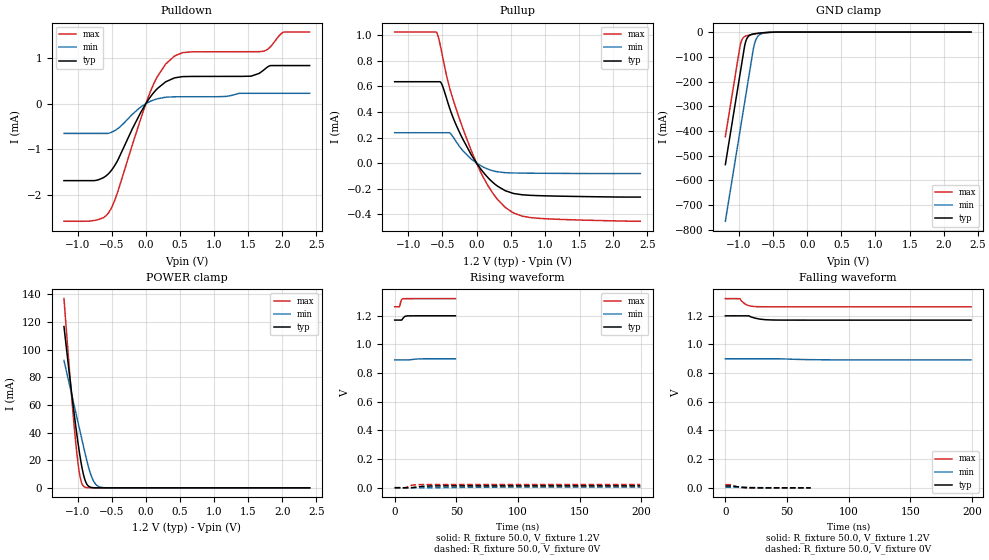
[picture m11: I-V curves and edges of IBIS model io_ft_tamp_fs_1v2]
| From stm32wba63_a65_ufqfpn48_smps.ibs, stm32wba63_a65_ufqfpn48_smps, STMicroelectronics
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[Model]   io_ft_tamp_fs_1v2
Model_type I/O
Polarity   Non-Inverting
Enable   Active-Low
| CAP_THRESHOLD on pad IOFT is "UDTCAPC" :
| Rising=30.0% of vddios   Falling=70.0% of vddios
| C_comp min and max val. don't necessarily correlate with the min and max pvt
| but are the smallest and greatest pad capacitance found.
| var   typ   min   max
C_comp   2.32869pF  2.27598pF  2.39710pF
|C_comp_pullup   1.36502pF  1.26597pF  1.45243pF
|C_comp_pulldown   963.66384fF  1.01002pF  944.67420fF
Vinl = 450.0mV
Vinh = 660.0mV
Vmeas = 600.0mV   | Reference voltage for timing measurements
Cref  = 50.0pF   | Timing specification test load capacitance value
Rref  = 1.0MOhm   | Timing specification test load resistance value
Vref  = 660.0mV   | Timing specification test load voltage
[Model Spec]
| TIME_THRESHOLD on pin ZIV11 is "CMOS" :
| Rising=50.0% of vdd   Falling=50.0% of vdd
Vinl 441.50000mV 335.50000mV 487.50000mV
Vinh 755.50000mV 552.50000mV 839.50000mV
| variable   typ   min   max
[Temperature Range] 25.0 140.0 -40.0
| variable   typ   min   max
[Voltage Range] 1.2V 900.0mV 1.32V
| variable   typ   min   max
[POWER Clamp Reference] 1.2V 900.0mV 1.32V
| variable   typ   min   max
[GND Clamp Reference] 0V 0V 0V
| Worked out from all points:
|   slope of the pulldown table from 0 to 0.18 V, typ, clamps not added: 522 ohm
|   slope of the pullup table from 0 to 0.18 V, typ, clamps not added: 1.49 kohm
|   GND clamp passes 1 mA (typ) near -0.54 V on its own axis
|   POWER clamp passes 1 mA (typ) near -0.83 V on its own axis
[POWER Clamp]
-1.2V     116.7mA    92.13mA    136.9mA
-1.09V    69.42mA    68.21mA    67.14mA
-1.02V    41.75mA    52.99mA    28.91mA
-990mV    30.98mA    46.47mA    16.09mA
-970mV    24.36mA    42.12mA    9.575mA
-940mV    15.59mA    35.6mA     3.485mA
-910mV    8.693mA    29.07mA    1.01mA
-860mV    2.259mA    18.59mA    104.6uA
-780mV    143.1uA    6.246mA    2.554uA
-720mV    16.22uA    1.846mA    157.1nA
-650mV    1.266uA    330.3uA    6.104nA
2.4V      0A         0A         0A
[GND Clamp]
-1.2V     -535.9mA   -765.1mA   -422.7mA
-990mV    -178.9mA   -408.1mA   -65.72mA
-970mV    -144.9mA   -374.1mA   -40.58mA
-920mV    -59.91mA   -289.1mA   -18.78mA
-900mV    -37.04mA   -255.1mA   -15.98mA
-880mV    -24.11mA   -221.1mA   -14.15mA
-780mV    -7.189mA   -55.54mA   -8.417mA
-750mV    -5.884mA   -29.71mA   -7.031mA
-700mV    -4.228mA   -11.41mA   -4.967mA
-610mV    -2.056mA   -3.105mA   -2.146mA
-390mV    -47.28uA   -188.8uA   -17.26uA
2.4V      740.6pA    197.9nA    245.1pA
| variable   typ   min   max
[Pullup Reference] 1.2V 900.0mV 1.32V
| variable   typ   min   max
[Pulldown Reference] 0V 0V 0V
[Pullup]
-1.2V     636.9uA    237.8uA    1.025mA
-580mV    636.9uA    237.8uA    1.017mA
-510mV    618.2uA    237.8uA    865.7uA
-440mV    507.1uA    237.8uA    686.1uA
-380mV    407.6uA    229.9uA    561.8uA
-250mV    241.3uA    130.7uA    346.6uA
-80mV     68.07uA    32.58uA    101.5uA
170mV     -115.1uA   -47.4uA    -178.3uA
420mV     -215.5uA   -74.74uA   -346.1uA
540mV     -237.3uA   -77.13uA   -389.8uA
790mV     -251.9uA   -78.78uA   -426uA
2.4V      -265.6uA   -81.56uA   -454.9uA
[Pulldown]
-1.2V     -1.691mA   -654.5uA   -2.583mA
-750mV    -1.69mA    -654.5uA   -2.563mA
-540mV    -1.526mA   -648.1uA   -2.381mA
-420mV    -1.264mA   -558.3uA   -1.971mA
-80mV     -206.7uA   -79.1uA    -354.6uA
80mV      176uA      59.82uA    314uA
290mV     478.8uA    141.1uA    868.7uA
420mV     565.7uA    150.4uA    1.047mA
1.54V     603uA      226.8uA    1.14mA
1.72V     729uA      226.8uA    1.15mA
2.01V     836.2uA    226.8uA    1.564mA
2.4V      836.2uA    226.8uA    1.572mA
[Ramp]
dV/dt_r 7.74265mV/8.00643ns 2.37319mV/21.38956ns 13.24855mV/4.61175ns
dV/dt_f 17.94413mV/8.48771ns 4.53508mV/21.30866ns 34.19538mV/5.22482ns
R_load = 50.0
| Removed startup time: 0s 0s 0s  .
| Removed end time: 49.25ns.
[Rising Waveform]
R_fixture   = 50.0
V_fixture   = 1.2V
V_fixture_min = 900.0mV
V_fixture_max = 1.32V
0s        1.17V      892.4mV    1.263V
3.85ns    1.17V      892.4mV    1.263V
5ns       1.17V      892.4mV    1.299V
5.45ns    1.17V      892.4mV    1.309V
6.15ns    1.175V     892.4mV    1.317V
7.05ns    1.186V     892.4mV    1.319V
8.35ns    1.196V     892.4mV    1.319V
11.05ns   1.2V       892.4mV    1.32V
21.15ns   1.2V       899.3mV    1.32V
49.25ns   1.2V       900mV      1.32V
| Removed startup time: 0s 0s 0s  .
| Removed end time: 199.25ns.
[Falling Waveform]
R_fixture   = 50.0
V_fixture   = 1.2V
V_fixture_min = 900.0mV
V_fixture_max = 1.32V
0s        1.2V       900mV      1.32V
11.75ns   1.2V       900mV      1.319V
14.8ns    1.2V       900mV      1.29V
17.35ns   1.2V       900mV      1.276V
19.3ns    1.199V     900mV      1.27V
20.7ns    1.193V     900mV      1.268V
27.6ns    1.178V     900mV      1.264V
44.75ns   1.17V      899.9mV    1.263V
85.4ns    1.17V      892.9mV    1.263V
199.3ns   1.17V      892.4mV    1.263V
| Removed startup time: 0s 0s 0s  .
| Removed end time: 199.25ns.
[Rising Waveform]
R_fixture   = 50.0
V_fixture   = 0V
V_fixture_min = 0V
V_fixture_max = 0V
0s        10.49nV    318.6nV    9.881nV
8.4ns     -368.2uV   1.435uV    -112.6uV
12.4ns    -74.94uV   -51.63uV   13.05mV
14.7ns    973.1uV    -99uV      18.12mV
17.85ns   4.733mV    -95.1uV    20.97mV
22.05ns   8.994mV    -102.8uV   21.85mV
28.45ns   11.92mV    -35.08uV   22.05mV
40.65ns   12.83mV    377.2uV    22.07mV
77.3ns    12.9mV     3.668mV    22.08mV
199.3ns   12.9mV     3.956mV    22.08mV
| Removed startup time: 0s 0s 0s  .
| Removed end time: 69.2ns.
[Falling Waveform]
R_fixture   = 50.0
V_fixture   = 0V
V_fixture_min = 0V
V_fixture_max = 0V
0s        12.91mV    3.962mV    22.08mV
3.95ns    12.9mV     3.962mV    22.09mV
5.95ns    12.86mV    3.961mV    15.51mV
9.9ns     7.889mV    3.962mV    4.863mV
11.85ns   5.761mV    3.954mV    1.719mV
14.3ns    3.478mV    3.522mV    405.8uV
18.35ns   920.5uV    2.831mV    140.8uV
22.6ns    217.2uV    2.169mV    60.18uV
39.55ns   21.47uV    365uV      1.691uV
69.2ns    313.4nV    25.38uV    26.52nV
